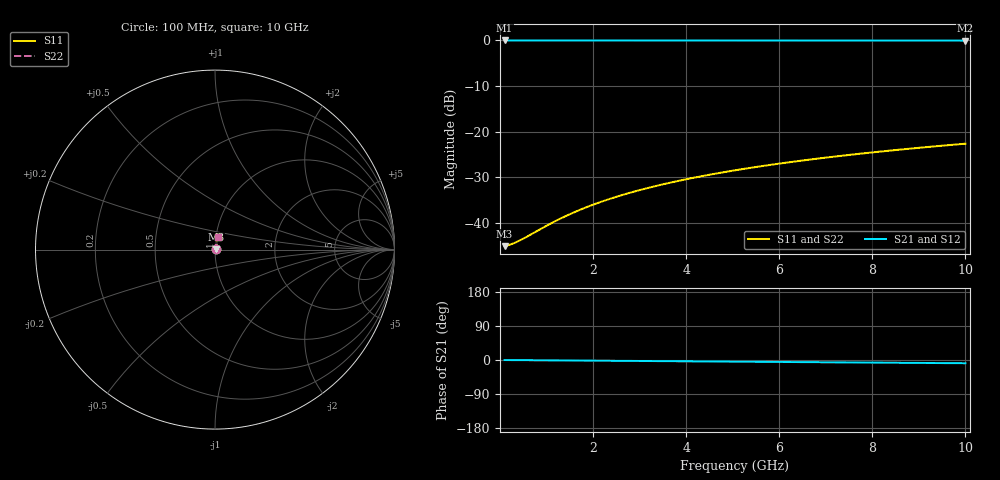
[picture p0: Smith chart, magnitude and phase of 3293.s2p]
# Hz S RI R 50.00
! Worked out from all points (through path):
!   100 points, 100 MHz to 10 GHz, reference 50 ohm
!   highest |S21| = -0.05 dB at 100 MHz (marker M1); lowest = -0.1 dB at 10 GHz (marker M2)
!   group delay of S21, straight-line fit = 2.38 ps
!   lowest |S11| = -45.0 dB at 100 MHz (marker M3), VSWR 1.01, Z = 50.6 + j0.0741 ohm
!   |S11| at or under -10 dB: start of sweep to end of sweep
!   |S22| runs from -45.0 to -22.6 dB; largest |S21 - S12| = 0
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1e8  0.00556 0.000733  0.9944 -0.00149  0.9944 -0.00149  0.00556 0.000733
2e8  0.0056 0.00147  0.9944 -0.00298  0.9944 -0.00298  0.0056 0.00147
3e8  0.00563 0.0022  0.9944 -0.00447  0.9944 -0.00447  0.00563 0.0022
4e8  0.00566 0.00293  0.9943 -0.00595  0.9943 -0.00595  0.00566 0.00293
6e8  0.00571 0.0044  0.9943 -0.00893  0.9943 -0.00893  0.00571 0.0044
1e9  0.00584 0.00732  0.9941 -0.0149  0.9941 -0.0149  0.00584 0.00732
1.2e9  0.0059 0.00879  0.994 -0.0179  0.994 -0.0179  0.0059 0.00879
1.5e9  0.00602 0.011  0.9939 -0.0223  0.9939 -0.0223  0.00602 0.011
1.8e9  0.00615 0.0132  0.9937 -0.0268  0.9937 -0.0268  0.00615 0.0132
2.1e9  0.0063 0.0154  0.9936 -0.0312  0.9936 -0.0312  0.0063 0.0154
2.5e9  0.00653 0.0183  0.9933 -0.0372  0.9933 -0.0372  0.00653 0.0183
2.9e9  0.00679 0.0212  0.9929 -0.0431  0.9929 -0.0431  0.00679 0.0212
3.4e9  0.00716 0.0248  0.9925 -0.0505  0.9925 -0.0505  0.00716 0.0248
3.8e9  0.0075 0.0277  0.9921 -0.0565  0.9921 -0.0565  0.0075 0.0277
4.2e9  0.00787 0.0307  0.9916 -0.0624  0.9916 -0.0624  0.00787 0.0307
4.6e9  0.00827 0.0336  0.9911 -0.0683  0.9911 -0.0683  0.00827 0.0336
5.1e9  0.00883 0.0372  0.9904 -0.0757  0.9904 -0.0757  0.00883 0.0372
5.9e9  0.00982 0.0429  0.9891 -0.0875  0.9891 -0.0875  0.00982 0.0429
6.7e9  0.011 0.0487  0.9877 -0.0993  0.9877 -0.0993  0.011 0.0487
7.5e9  0.0122 0.0544  0.9861 -0.1111  0.9861 -0.1111  0.0122 0.0544
8.4e9  0.0138 0.0607  0.9841 -0.1243  0.9841 -0.1243  0.0138 0.0607
1e10  0.017 0.0719  0.98 -0.1476  0.98 -0.1476  0.017 0.0719
